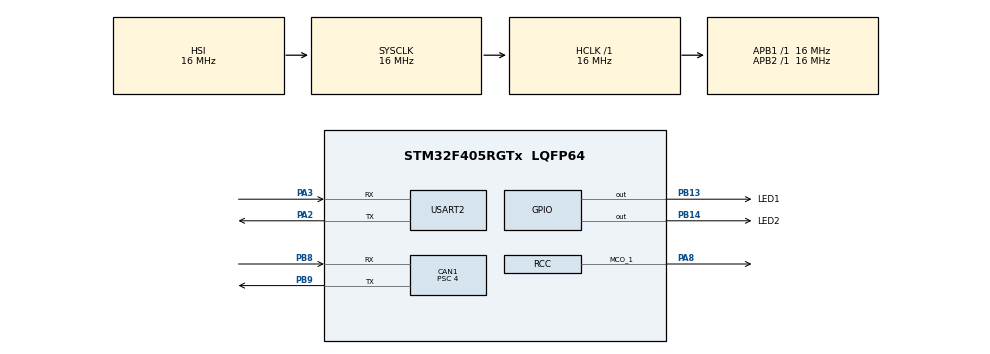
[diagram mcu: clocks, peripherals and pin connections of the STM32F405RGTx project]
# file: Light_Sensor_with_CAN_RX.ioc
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CAN1.BS1=CAN_BS1_12TQ
CAN1.BS2=CAN_BS2_3TQ
CAN1.CalculateBaudRate=250000
CAN1.CalculateTimeBit=4000
CAN1.CalculateTimeQuantum=250.0
CAN1.NART=ENABLE
CAN1.Prescaler=4
Mcu.Family=STM32F4
Mcu.Name=STM32F405RGTx
Mcu.Package=LQFP64
NVIC.CAN1_RX0_IRQn=true\:0\:0\:false\:false\:true\:true\:true\:true
NVIC.PriorityGroup=NVIC_PRIORITYGROUP_4
PA13.Mode=Serial_Wire
PA13.Signal=SYS_JTMS-SWDIO
PA14.Mode=Serial_Wire
PA14.Signal=SYS_JTCK-SWCLK
PA2.Mode=Asynchronous
PA2.Signal=USART2_TX
PA3.Mode=Asynchronous
PA3.Signal=USART2_RX
PA8.Mode=Clock-out-1
PA8.Signal=RCC_MCO_1
PB13.GPIO_Label=LED1
PB13.Signal=GPIO_Output
PB14.GPIO_Label=LED2
PB14.Signal=GPIO_Output
PB8.Mode=CAN_Activate
PB8.Signal=CAN1_RX
PB9.Mode=CAN_Activate
PB9.Signal=CAN1_TX
ProjectManager.HeapSize=0x200
ProjectManager.StackSize=0x400
ProjectManager.TargetToolchain=STM32CubeIDE
RCC.AHBFreq_Value=16000000
RCC.APB1Freq_Value=16000000
RCC.APB2Freq_Value=16000000
RCC.CortexFreq_Value=16000000
RCC.HSE_VALUE=25000000
RCC.HSI_VALUE=16000000
RCC.LSE_VALUE=32768
RCC.SYSCLKFreq_VALUE=16000000
RCC.VCOOutputFreq_Value=192000000
USART2.VirtualMode=VM_ASYNC
board=custom

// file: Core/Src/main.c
/* USER CODE BEGIN Header */
/**
  ******************************************************************************
  * @file           : main.c
  * @brief          : Main program body
  ******************************************************************************
  * @attention
  *
  * Copyright (c) 2026 STMicroelectronics.
  * All rights reserved.
  *
  * This software is licensed under terms that can be found in the LICENSE file
  * in the root directory of this software component.
  * If no LICENSE file comes with this software, it is provided AS-IS.
  *
  ******************************************************************************
  */
/* USER CODE END Header */
#include "main.h"

/* USER CODE BEGIN PD */
CAN_TxHeaderTypeDef TxHeader;
CAN_RxHeaderTypeDef RxHeader;
uint8_t TxData[8];
uint8_t RxData[8];
uint32_t TxMailbox;
/* USER CODE END PD */

CAN_HandleTypeDef hcan1;

UART_HandleTypeDef huart2;

void SystemClock_Config(void);
static void MX_GPIO_Init(void);
static void MX_CAN1_Init(void);
static void MX_USART2_UART_Init(void);
/* USER CODE BEGIN PFP */
void CAN_Send_Message(uint32_t canId, uint8_t *data, uint8_t length);
/* USER CODE END PFP */

int main(void)
{

  /* MCU Configuration--------------------------------------------------------*/

  /* Reset of all peripherals, Initializes the Flash interface and the Systick. */
  HAL_Init();

  /* Configure the system clock */
  SystemClock_Config();

  /* Initialize all configured peripherals */
  MX_GPIO_Init();
  MX_CAN1_Init();
  MX_USART2_UART_Init();
  /* USER CODE BEGIN 2 */
  HAL_CAN_Start(&hcan1);
  HAL_CAN_ActivateNotification(&hcan1, CAN_IT_RX_FIFO0_MSG_PENDING);
  /* USER CODE END 2 */

  /* Infinite loop */
  while (1)
  {

  }
}

void SystemClock_Config(void)
{
  RCC_OscInitTypeDef RCC_OscInitStruct = {0};
  RCC_ClkInitTypeDef RCC_ClkInitStruct = {0};

  /** Configure the main internal regulator output voltage
  */
  __HAL_RCC_PWR_CLK_ENABLE();
  __HAL_PWR_VOLTAGESCALING_CONFIG(PWR_REGULATOR_VOLTAGE_SCALE1);

  /** Initializes the RCC Oscillators according to the specified parameters
  * in the RCC_OscInitTypeDef structure.
  */
  RCC_OscInitStruct.OscillatorType = RCC_OSCILLATORTYPE_HSI;
  RCC_OscInitStruct.HSIState = RCC_HSI_ON;
  RCC_OscInitStruct.HSICalibrationValue = RCC_HSICALIBRATION_DEFAULT;
  RCC_OscInitStruct.PLL.PLLState = RCC_PLL_NONE;
  if (HAL_RCC_OscConfig(&RCC_OscInitStruct) != HAL_OK)
  {
    Error_Handler();
  }

  /** Initializes the CPU, AHB and APB buses clocks
  */
  RCC_ClkInitStruct.ClockType = RCC_CLOCKTYPE_HCLK|RCC_CLOCKTYPE_SYSCLK
                              |RCC_CLOCKTYPE_PCLK1|RCC_CLOCKTYPE_PCLK2;
  RCC_ClkInitStruct.SYSCLKSource = RCC_SYSCLKSOURCE_HSI;
  RCC_ClkInitStruct.AHBCLKDivider = RCC_SYSCLK_DIV1;
  RCC_ClkInitStruct.APB1CLKDivider = RCC_HCLK_DIV1;
  RCC_ClkInitStruct.APB2CLKDivider = RCC_HCLK_DIV1;

  if (HAL_RCC_ClockConfig(&RCC_ClkInitStruct, FLASH_LATENCY_0) != HAL_OK)
  {
    Error_Handler();
  }
  HAL_RCC_MCOConfig(RCC_MCO1, RCC_MCO1SOURCE_HSI, RCC_MCODIV_1);
}

static void MX_CAN1_Init(void)
{

  hcan1.Instance = CAN1;
  hcan1.Init.Prescaler = 4;
  hcan1.Init.Mode = CAN_MODE_NORMAL;
  hcan1.Init.SyncJumpWidth = CAN_SJW_1TQ;
  hcan1.Init.TimeSeg1 = CAN_BS1_12TQ;
  hcan1.Init.TimeSeg2 = CAN_BS2_3TQ;
  hcan1.Init.TimeTriggeredMode = DISABLE;
  hcan1.Init.AutoBusOff = DISABLE;
  hcan1.Init.AutoWakeUp = DISABLE;
  hcan1.Init.AutoRetransmission = ENABLE;
  hcan1.Init.ReceiveFifoLocked = DISABLE;
  hcan1.Init.TransmitFifoPriority = DISABLE;
  if (HAL_CAN_Init(&hcan1) != HAL_OK)
  {
    Error_Handler();
  }
  /* USER CODE BEGIN CAN1_Init 2 */
  CAN_FilterTypeDef canfilterconfig;

      canfilterconfig.FilterActivation = CAN_FILTER_ENABLE;
      canfilterconfig.FilterBank = 0;
      canfilterconfig.FilterFIFOAssignment = CAN_FILTER_FIFO0;
      canfilterconfig.FilterIdHigh = 0x0000;
      canfilterconfig.FilterIdLow = 0x0000;
      canfilterconfig.FilterMaskIdHigh = 0x0000;
      canfilterconfig.FilterMaskIdLow = 0x0000;
      canfilterconfig.FilterMode = CAN_FILTERMODE_IDMASK;
      canfilterconfig.FilterScale = CAN_FILTERSCALE_32BIT;
      canfilterconfig.SlaveStartFilterBank = 0;

      if (HAL_CAN_ConfigFilter(&hcan1, &canfilterconfig) != HAL_OK)
       {
         Error_Handler();
       }
  /* USER CODE END CAN1_Init 2 */

}

static void MX_USART2_UART_Init(void)
{

  huart2.Instance = USART2;
  huart2.Init.BaudRate = 115200;
  huart2.Init.WordLength = UART_WORDLENGTH_8B;
  huart2.Init.StopBits = UART_STOPBITS_1;
  huart2.Init.Parity = UART_PARITY_NONE;
  huart2.Init.Mode = UART_MODE_TX_RX;
  huart2.Init.HwFlowCtl = UART_HWCONTROL_NONE;
  huart2.Init.OverSampling = UART_OVERSAMPLING_16;
  if (HAL_UART_Init(&huart2) != HAL_OK)
  {
    Error_Handler();
  }

}

static void MX_GPIO_Init(void)
{
  GPIO_InitTypeDef GPIO_InitStruct = {0};

  /* GPIO Ports Clock Enable */
  __HAL_RCC_GPIOA_CLK_ENABLE();
  __HAL_RCC_GPIOB_CLK_ENABLE();

  /*Configure GPIO pin Output Level */
  HAL_GPIO_WritePin(GPIOB, LED1_Pin|LED2_Pin, GPIO_PIN_RESET);

  /*Configure GPIO pins : LED1_Pin LED2_Pin */
  GPIO_InitStruct.Pin = LED1_Pin|LED2_Pin;
  GPIO_InitStruct.Mode = GPIO_MODE_OUTPUT_PP;
  GPIO_InitStruct.Pull = GPIO_NOPULL;
  GPIO_InitStruct.Speed = GPIO_SPEED_FREQ_LOW;
  HAL_GPIO_Init(GPIOB, &GPIO_InitStruct);

  /*Configure GPIO pin : PA8 */
  GPIO_InitStruct.Pin = GPIO_PIN_8;
  GPIO_InitStruct.Mode = GPIO_MODE_AF_PP;
  GPIO_InitStruct.Pull = GPIO_NOPULL;
  GPIO_InitStruct.Speed = GPIO_SPEED_FREQ_LOW;
  GPIO_InitStruct.Alternate = GPIO_AF0_MCO;
  HAL_GPIO_Init(GPIOA, &GPIO_InitStruct);

}

/* USER CODE BEGIN 4 */

void HAL_CAN_RxFifo0MsgPendingCallback(CAN_HandleTypeDef *hcan1)
{
	if (HAL_CAN_GetRxMessage(hcan1, CAN_RX_FIFO0, &RxHeader, RxData) != HAL_OK)
	{
		Error_Handler();
	}

	if(RxHeader.StdId ==  0x323)
	{
		if(RxData[0] == 1){
			HAL_GPIO_TogglePin(LED1_GPIO_Port,LED1_Pin); // LED 1
		}
		else if(RxData[0] == 0)
		{
			HAL_GPIO_TogglePin(LED2_GPIO_Port,LED2_Pin); // LED 2
		}
	}
}

void CAN_Send_Message(uint32_t canId, uint8_t *data, uint8_t length)
{
	TxHeader.DLC = length;
	TxHeader.ExtId = 0;                   // Not using extended ID
	TxHeader.IDE = CAN_ID_STD;
	TxHeader.StdId = canId;
	TxHeader.RTR = CAN_RTR_DATA;
	TxHeader.TransmitGlobalTime = DISABLE;

	while (HAL_CAN_GetTxMailboxesFreeLevel(&hcan1) == 0);
	HAL_CAN_AddTxMessage(&hcan1, &TxHeader, data, &TxMailbox);
}
/* USER CODE END 4 */

void Error_Handler(void)
{
  __disable_irq();
  while (1)
  {
  }
}
